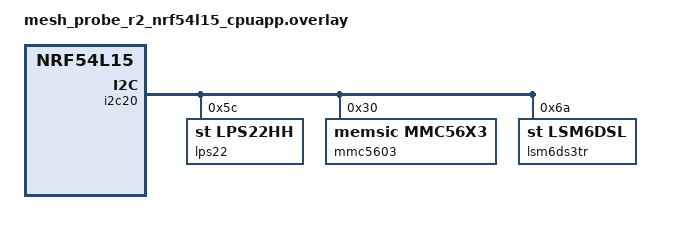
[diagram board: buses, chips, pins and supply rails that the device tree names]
/*
 * Copyright (c) 2026 FoBE Studio
 *
 * SPDX-License-Identifier: Apache-2.0
 *
 * Meshbus telemetry channel configuration for mesh_probe_r2.
 */

#include <dt-bindings/sensor/sensor_channel.h>

/ {

	mbs_telemetry: meshbus-telemetry {
		compatible = "fobe,meshbus-telemetry";
		
		ch0 { sensor = <&lps22>; channel = <SENSOR_CHAN_AMBIENT_TEMP>; };
		ch1 { sensor = <&lps22>; channel = <SENSOR_CHAN_PRESS>; };
		ch2 { sensor = <&lsm6ds3tr>; channel = <SENSOR_CHAN_ACCEL_XYZ>; };
		ch3 { sensor = <&lsm6ds3tr>; channel = <SENSOR_CHAN_GYRO_XYZ>; };
		ch4 { sensor = <&mmc5603>; channel = <SENSOR_CHAN_MAGN_XYZ>; };
	};

	chosen {
		meshbus,telemetry = &mbs_telemetry;
	};
};

&i2c20 {
	lps22: lps22hh@5c {
		compatible = "st,lps22hh";
		reg = <0x5c>;
		odr = <1>;
		power-domains = <&peripheral_power>;
	};

	mmc5603: mmc5603@30 {
		compatible = "memsic,mmc56x3";
		reg = <0x30>;
		magn-odr = <0>;
		auto-self-reset;
		power-domains = <&peripheral_power>;
	};

	lsm6ds3tr: lsm6ds3tr@6a {
		compatible = "st,lsm6dsl";
		reg = <0x6a>;
		power-domains = <&peripheral_power>;
	};
};
